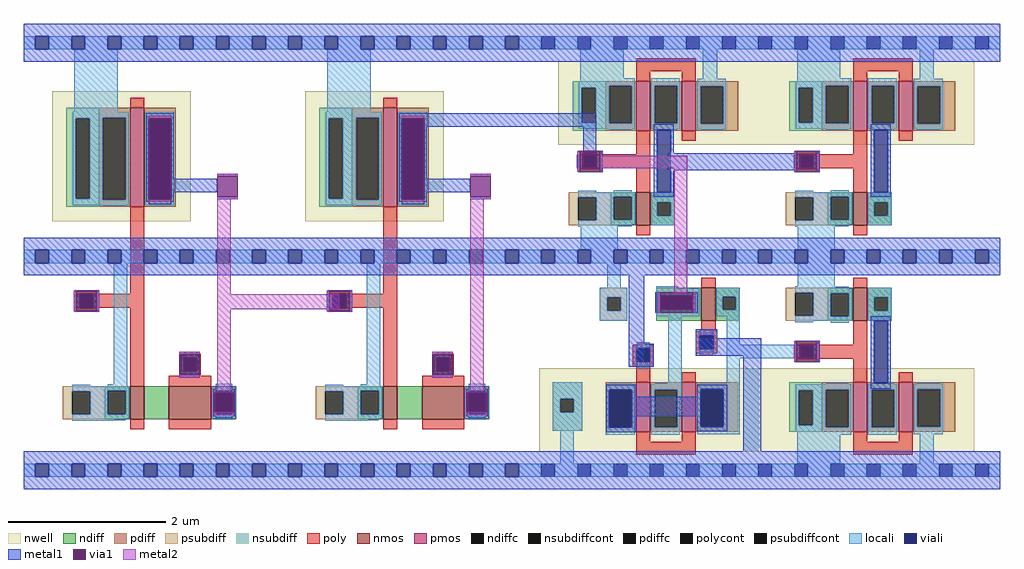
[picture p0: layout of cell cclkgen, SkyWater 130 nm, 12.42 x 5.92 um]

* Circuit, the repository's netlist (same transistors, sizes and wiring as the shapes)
* SPICE3 file created from cclkgen.ext - technology: sky130A

X0 inv_weak_pulldown_corrected_1/in inv_weak_pulldown_corrected_0/in VDDA VDDA sky130_fd_pr__pfet_01v8 ad=0p pd=0u as=0p ps=0u w=1.26e+06u l=180000u
X1 inv_weak_pulldown_corrected_0/a_30_50# inv_weak_pulldown_corrected_0/in VSUBS VSUBS sky130_fd_pr__nfet_01v8 ad=0p pd=0u as=0p ps=0u w=420000u l=180000u
X2 inv_weak_pulldown_corrected_1/in inv_weak_pulldown_corrected_1/vnb inv_weak_pulldown_corrected_0/a_30_50# VSUBS sky130_fd_pr__nfet_01v8 ad=0p pd=0u as=0p ps=0u w=420000u l=540000u
X3 comp_clks_0/tg_0/inp inv_weak_pulldown_corrected_1/in VDDA VDDA sky130_fd_pr__pfet_01v8 ad=0p pd=0u as=0p ps=0u w=1.26e+06u l=180000u
X4 inv_weak_pulldown_corrected_1/a_30_50# inv_weak_pulldown_corrected_1/in VSUBS VSUBS sky130_fd_pr__nfet_01v8 ad=0p pd=0u as=0p ps=0u w=420000u l=180000u
X5 comp_clks_0/tg_0/inp inv_weak_pulldown_corrected_1/vnb inv_weak_pulldown_corrected_1/a_30_50# VSUBS sky130_fd_pr__nfet_01v8 ad=0p pd=0u as=0p ps=0u w=420000u l=540000u
X6 comp_clks_0/tg_0/out VSUBS comp_clks_0/tg_0/inp VDDA sky130_fd_pr__pfet_01v8 ad=0p pd=0u as=0p ps=0u w=630000u l=180000u
X7 comp_clks_0/tg_0/inp VSUBS comp_clks_0/tg_0/out VDDA sky130_fd_pr__pfet_01v8 ad=0p pd=0u as=0p ps=0u w=630000u l=180000u
X8 comp_clks_0/tg_0/out VDDA comp_clks_0/tg_0/inp VSUBS sky130_fd_pr__nfet_01v8 ad=0p pd=0u as=0p ps=0u w=420000u l=180000u
X9 comp_clks_0/inverter_1/in comp_clks_0/tg_0/inp VSUBS VSUBS sky130_fd_pr__nfet_01v8 ad=0p pd=0u as=0p ps=0u w=420000u l=180000u
X10 VDDA comp_clks_0/tg_0/inp comp_clks_0/inverter_1/in VDDA sky130_fd_pr__pfet_01v8 ad=0p pd=0u as=0p ps=0u w=630000u l=180000u
X11 comp_clks_0/inverter_1/in comp_clks_0/tg_0/inp VDDA VDDA sky130_fd_pr__pfet_01v8 ad=0p pd=0u as=0p ps=0u w=630000u l=180000u
X12 comp_clks_0/inverter_1/out comp_clks_0/inverter_1/in VSUBS VSUBS sky130_fd_pr__nfet_01v8 ad=0p pd=0u as=0p ps=0u w=420000u l=180000u
X13 VDDA comp_clks_0/inverter_1/in comp_clks_0/inverter_1/out VDDA sky130_fd_pr__pfet_01v8 ad=0p pd=0u as=0p ps=0u w=630000u l=180000u
X14 comp_clks_0/inverter_1/out comp_clks_0/inverter_1/in VDDA VDDA sky130_fd_pr__pfet_01v8 ad=0p pd=0u as=0p ps=0u w=630000u l=180000u
X15 comp_clks_0/inverter_2/out comp_clks_0/tg_0/out VSUBS VSUBS sky130_fd_pr__nfet_01v8 ad=0p pd=0u as=0p ps=0u w=420000u l=180000u
X16 VDDA comp_clks_0/tg_0/out comp_clks_0/inverter_2/out VDDA sky130_fd_pr__pfet_01v8 ad=0p pd=0u as=0p ps=0u w=630000u l=180000u
X17 comp_clks_0/inverter_2/out comp_clks_0/tg_0/out VDDA VDDA sky130_fd_pr__pfet_01v8 ad=0p pd=0u as=0p ps=0u w=630000u l=180000u

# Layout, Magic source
magic
tech sky130B
magscale 1 2
<< metal1 >>
rect 1022 922 1457 956
rect 1423 850 1457 922
<< metal2 >>
rect 515 458 802 496
use comp_clks  comp_clks_0
transform 1 0 1288 0 1 544
box 0 -547 1196 640
use inv_weak_pulldown_corrected  inv_weak_pulldown_corrected_0
transform 1 0 276 0 1 128
box -276 -128 368 1056
use inv_weak_pulldown_corrected  inv_weak_pulldown_corrected_1
transform 1 0 920 0 1 128
box -276 -128 368 1056
<< end >>

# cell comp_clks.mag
magic
tech sky130B
magscale 1 2
<< nwell >>
rect 577 332 627 545
rect 576 -449 630 -236
<< locali >>
rect 530 -211 674 -177
<< metal1 >>
rect 0 544 1196 640
rect 351 268 677 311
rect 251 2 280 4
rect 251 -232 290 2
rect 422 -205 588 -160
rect 543 -448 588 -205
rect 0 -544 1196 -448
<< metal2 >>
rect 182 273 400 305
rect 367 -47 400 273
use inverter  inverter_0 /local_disk/fossi_cochlea/mag/final_designs/inverter
transform 1 0 276 0 1 128
box -276 -128 368 512
use inverter  inverter_1
transform 1 0 828 0 1 128
box -276 -128 368 512
use inverter  inverter_2
transform 1 0 828 0 -1 -32
box -276 -128 368 512
use tg  tg_0
transform 1 0 276 0 -1 -32
box -276 -128 368 512
<< labels >>
flabel metal1 0 609 1196 640 1 FreeSans 800 0 0 0 vdda
flabel metal1 0 -544 1196 -448 1 FreeSans 800 0 0 0 vdda
<< end >>

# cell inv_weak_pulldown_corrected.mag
magic
tech sky130B
magscale 1 2
<< nwell >>
rect -204 554 148 884
<< nmos >>
rect -6 50 30 134
rect 93 50 201 134
<< pmos >>
rect -6 590 30 842
<< ndiff >>
rect -71 122 -6 134
rect -71 63 -63 122
rect -17 63 -6 122
rect -71 50 -6 63
rect 30 50 93 134
rect 201 122 264 134
rect 201 64 212 122
rect 254 64 264 122
rect 201 50 264 64
<< pdiff >>
rect -84 817 -6 842
rect -84 609 -75 817
rect -17 609 -6 817
rect -84 590 -6 609
rect 30 816 110 842
rect 30 609 41 816
rect 99 609 110 816
rect 30 590 110 609
<< ndiffc >>
rect -63 63 -17 122
rect 212 64 254 122
<< pdiffc >>
rect -75 609 -17 817
rect 41 609 99 816
<< psubdiff >>
rect -177 121 -71 134
rect -177 62 -153 121
rect -107 62 -71 121
rect -177 50 -71 62
<< nsubdiff >>
rect -168 816 -84 842
rect -168 611 -144 816
rect -109 611 -84 816
rect -168 590 -84 611
<< psubdiffcont >>
rect -153 62 -107 121
<< nsubdiffcont >>
rect -144 611 -109 816
<< poly >>
rect -6 842 30 868
rect -144 369 -88 378
rect -6 369 30 590
rect -144 368 30 369
rect -150 334 -134 368
rect -100 334 30 368
rect -144 333 30 334
rect -144 324 -88 333
rect -6 134 30 333
rect 130 216 164 222
rect 120 206 174 216
rect 120 172 130 206
rect 164 172 174 206
rect 120 160 174 172
rect 93 134 201 160
rect -6 24 30 50
rect 93 24 201 50
<< polycont >>
rect -134 334 -100 368
rect 130 172 164 206
<< locali >>
rect -276 991 -247 1025
rect -213 991 -155 1025
rect -121 991 -63 1025
rect -29 991 29 1025
rect 63 991 121 1025
rect 155 991 213 1025
rect 247 991 305 1025
rect 339 991 368 1025
rect -148 833 -38 991
rect -152 817 -10 833
rect -152 816 -75 817
rect -152 611 -144 816
rect -109 611 -75 816
rect -152 609 -75 611
rect -17 609 -10 817
rect -152 595 -10 609
rect 32 816 106 833
rect 32 609 41 816
rect 99 609 106 816
rect 32 595 106 609
rect -75 593 -17 595
rect 41 593 99 595
rect -276 447 -247 481
rect -213 447 -155 481
rect -121 447 -63 481
rect -29 447 29 481
rect 63 447 121 481
rect 155 447 213 481
rect 247 447 305 481
rect 339 447 368 481
rect -150 334 -134 368
rect -100 334 -84 368
rect -48 139 -13 447
rect 130 212 164 222
rect 124 206 170 212
rect 124 172 130 206
rect 164 172 170 206
rect 124 166 170 172
rect 130 156 164 166
rect -153 134 -107 137
rect -63 134 -13 139
rect -153 133 -13 134
rect 212 133 254 140
rect -153 122 -8 133
rect -153 121 -63 122
rect -107 63 -63 121
rect -17 63 -8 122
rect -107 62 -8 63
rect -153 51 -8 62
rect 202 122 263 133
rect 202 64 212 122
rect 254 64 263 122
rect 202 51 263 64
rect -153 47 -17 51
rect 212 48 254 51
rect -153 46 -47 47
rect -276 -97 -247 -63
rect -213 -97 -155 -63
rect -121 -97 -63 -63
rect -29 -97 29 -63
rect 63 -97 121 -63
rect 155 -97 213 -63
rect 247 -97 305 -63
rect 339 -97 368 -63
<< viali >>
rect -247 991 -213 1025
rect -155 991 -121 1025
rect -63 991 -29 1025
rect 29 991 63 1025
rect 121 991 155 1025
rect 213 991 247 1025
rect 305 991 339 1025
rect 41 609 99 816
rect -247 447 -213 481
rect -155 447 -121 481
rect -63 447 -29 481
rect 29 447 63 481
rect 121 447 155 481
rect 213 447 247 481
rect 305 447 339 481
rect -134 334 -100 368
rect 130 172 164 206
rect 212 64 254 122
rect -247 -97 -213 -63
rect -155 -97 -121 -63
rect -63 -97 -29 -63
rect 29 -97 63 -63
rect 121 -97 155 -63
rect 213 -97 247 -63
rect 305 -97 339 -63
<< metal1 >>
rect -276 1025 368 1056
rect -276 991 -247 1025
rect -213 991 -155 1025
rect -121 991 -63 1025
rect -29 991 29 1025
rect 63 991 121 1025
rect 155 991 213 1025
rect 247 991 305 1025
rect 339 991 368 1025
rect -276 960 368 991
rect 35 816 105 828
rect 35 609 41 816
rect 99 662 105 816
rect 216 668 268 674
rect 99 628 216 662
rect 99 609 105 628
rect 216 610 268 616
rect 35 603 105 609
rect 41 597 99 603
rect -276 481 368 512
rect -276 447 -247 481
rect -213 447 -155 481
rect -121 447 -63 481
rect -29 447 29 481
rect 63 447 121 481
rect 155 447 213 481
rect 247 447 305 481
rect 339 447 368 481
rect -276 416 368 447
rect -147 377 -84 378
rect -149 325 -143 377
rect -91 325 -84 377
rect -147 324 -84 325
rect 119 215 171 222
rect 119 156 171 163
rect 212 128 254 134
rect 206 122 260 128
rect 206 119 212 122
rect 254 119 260 122
rect 206 67 207 119
rect 259 67 260 119
rect 206 64 212 67
rect 254 64 260 67
rect 206 58 260 64
rect 212 52 254 58
rect -276 -63 368 -32
rect -276 -97 -247 -63
rect -213 -97 -155 -63
rect -121 -97 -63 -63
rect -29 -97 29 -63
rect 63 -97 121 -63
rect 155 -97 213 -63
rect 247 -97 305 -63
rect 339 -97 368 -63
rect -276 -128 368 -97
<< via1 >>
rect 41 609 99 816
rect 216 616 268 668
rect -143 368 -91 377
rect -143 334 -134 368
rect -134 334 -100 368
rect -100 334 -91 368
rect -143 325 -91 334
rect 119 206 171 215
rect 119 172 130 206
rect 130 172 164 206
rect 164 172 171 206
rect 119 163 171 172
rect 207 67 212 119
rect 212 67 254 119
rect 254 67 259 119
<< metal2 >>
rect 41 816 99 822
rect 41 603 99 609
rect 216 668 268 674
rect 216 610 268 616
rect -149 325 -143 377
rect -91 325 -85 377
rect 119 215 171 222
rect 119 156 171 163
rect 216 125 250 610
rect 207 119 259 125
rect 207 61 259 67
<< labels >>
flabel metal2 -134 334 -100 368 0 FreeSans 160 0 0 0 in
flabel metal2 130 172 164 206 0 FreeSans 160 0 0 0 vnb
<< end >>

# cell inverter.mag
magic
tech sky130A
magscale 1 2
<< nwell >>
rect -204 204 302 417
<< nmos >>
rect -6 0 30 84
<< pmos >>
rect -6 240 30 366
rect 110 240 146 366
<< ndiff >>
rect -71 72 -6 84
rect -71 13 -63 72
rect -17 13 -6 72
rect -71 0 -6 13
rect 30 58 92 84
rect 30 24 48 58
rect 82 24 92 58
rect 30 0 92 24
<< pdiff >>
rect -84 354 -6 366
rect -84 259 -75 354
rect -17 259 -6 354
rect -84 240 -6 259
rect 30 354 110 366
rect 30 259 41 354
rect 99 259 110 354
rect 30 240 110 259
rect 146 353 254 366
rect 146 258 158 353
rect 216 258 254 353
rect 146 240 254 258
<< ndiffc >>
rect -63 13 -17 72
rect 48 24 82 58
<< pdiffc >>
rect -75 259 -17 354
rect 41 259 99 354
rect 158 258 216 353
<< psubdiff >>
rect -177 71 -71 84
rect -177 12 -153 71
rect -107 12 -71 71
rect -177 0 -71 12
<< nsubdiff >>
rect -168 350 -84 366
rect -168 261 -144 350
rect -109 261 -84 350
rect -168 240 -84 261
<< psubdiffcont >>
rect -153 12 -107 71
<< nsubdiffcont >>
rect -144 261 -109 350
<< poly >>
rect -6 392 146 424
rect -6 366 30 392
rect 110 366 146 392
rect -151 180 -95 189
rect -6 180 30 240
rect 110 214 146 240
rect -151 179 30 180
rect -157 145 -141 179
rect -107 145 30 179
rect -151 144 30 145
rect -151 135 -95 144
rect -6 84 30 144
rect -6 -26 30 0
<< polycont >>
rect -141 145 -107 179
<< locali >>
rect -276 447 -247 481
rect -213 447 -155 481
rect -121 447 -63 481
rect -29 447 29 481
rect 63 447 121 481
rect 155 447 213 481
rect 247 447 305 481
rect 339 447 368 481
rect -148 374 -38 447
rect -148 366 -10 374
rect -152 354 -10 366
rect -152 350 -75 354
rect -152 261 -144 350
rect -109 261 -75 350
rect -152 259 -75 261
rect -17 259 -10 354
rect -152 245 -10 259
rect 32 366 105 374
rect 164 373 200 447
rect 32 354 106 366
rect 32 259 41 354
rect 99 259 106 354
rect 32 245 106 259
rect 149 365 222 373
rect 149 353 223 365
rect 149 258 158 353
rect 216 258 223 353
rect -75 243 -17 245
rect 41 243 99 245
rect 149 244 223 258
rect -157 145 -141 179
rect -107 145 -91 179
rect -153 84 -107 87
rect -63 84 -17 89
rect 158 242 216 244
rect -153 83 -17 84
rect -153 72 -8 83
rect -153 71 -63 72
rect -107 13 -63 71
rect -17 13 -8 72
rect -107 12 -8 13
rect -153 1 -8 12
rect 32 58 92 84
rect 32 24 48 58
rect 82 24 92 58
rect -153 -3 -17 1
rect 32 0 92 24
rect -153 -4 -53 -3
rect -147 -63 -53 -4
rect -276 -97 -247 -63
rect -213 -97 -155 -63
rect -121 -97 -63 -63
rect -29 -97 29 -63
rect 63 -97 121 -63
rect 155 -97 213 -63
rect 247 -97 305 -63
rect 339 -97 368 -63
<< viali >>
rect -247 447 -213 481
rect -155 447 -121 481
rect -63 447 -29 481
rect 29 447 63 481
rect 121 447 155 481
rect 213 447 247 481
rect 305 447 339 481
rect -141 145 -107 179
rect 48 84 82 243
rect -247 -97 -213 -63
rect -155 -97 -121 -63
rect -63 -97 -29 -63
rect 29 -97 63 -63
rect 121 -97 155 -63
rect 213 -97 247 -63
rect 305 -97 339 -63
<< metal1 >>
rect -276 481 368 512
rect -276 447 -247 481
rect -213 447 -155 481
rect -121 447 -63 481
rect -29 447 29 481
rect 63 447 121 481
rect 155 447 213 481
rect 247 447 305 481
rect 339 447 368 481
rect -276 416 368 447
rect 39 243 90 256
rect -154 188 -91 189
rect -156 136 -150 188
rect -98 136 -91 188
rect -154 135 -91 136
rect 39 84 48 243
rect 82 84 90 243
rect 39 72 90 84
rect -276 -63 368 -32
rect -276 -97 -247 -63
rect -213 -97 -155 -63
rect -121 -97 -63 -63
rect -29 -97 29 -63
rect 63 -97 121 -63
rect 155 -97 213 -63
rect 247 -97 305 -63
rect 339 -97 368 -63
rect -276 -128 368 -97
<< via1 >>
rect -150 179 -98 188
rect -150 145 -141 179
rect -141 145 -107 179
rect -107 145 -98 179
rect -150 136 -98 145
<< metal2 >>
rect -156 136 -150 188
rect -98 136 -92 188
<< labels >>
flabel metal2 -141 145 -107 179 0 FreeSans 160 0 0 0 in
flabel viali 48 84 82 243 0 FreeSans 160 0 0 0 out
<< end >>

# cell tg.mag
magic
tech sky130B
magscale 1 2
<< nwell >>
rect -253 204 302 417
<< nmos >>
rect 160 0 196 84
<< pmos >>
rect -6 240 30 366
rect 110 240 146 366
<< ndiff >>
rect 45 54 160 84
rect 45 20 55 54
rect 139 20 160 54
rect 45 0 160 20
rect 196 56 258 84
rect 196 22 214 56
rect 248 22 258 56
rect 196 0 258 22
<< pdiff >>
rect -84 354 -6 366
rect -84 259 -75 354
rect -17 259 -6 354
rect -84 240 -6 259
rect 30 354 110 366
rect 30 259 41 354
rect 99 259 110 354
rect 30 240 110 259
rect 146 353 254 366
rect 146 258 158 353
rect 216 258 254 353
rect 146 240 254 258
<< ndiffc >>
rect 55 20 139 54
rect 214 22 248 56
<< pdiffc >>
rect -75 259 -17 354
rect 41 259 99 354
rect 158 258 216 353
<< psubdiff >>
rect -99 58 -29 83
rect -99 24 -79 58
rect -45 24 -29 58
rect -99 0 -29 24
<< nsubdiff >>
rect -217 316 -143 364
rect -217 282 -199 316
rect -165 282 -143 316
rect -217 240 -143 282
<< psubdiffcont >>
rect -79 24 -45 58
<< nsubdiffcont >>
rect -199 282 -165 316
<< poly >>
rect -6 392 146 424
rect -6 366 30 392
rect 110 366 146 392
rect -6 200 30 240
rect 110 214 146 240
rect -15 188 39 200
rect -15 154 -5 188
rect 29 154 39 188
rect 156 166 190 172
rect -15 144 39 154
rect 146 156 200 166
rect -5 138 29 144
rect 146 122 156 156
rect 190 122 200 156
rect 146 110 200 122
rect 155 106 196 110
rect 160 84 196 106
rect 160 -26 196 0
<< polycont >>
rect -5 154 29 188
rect 156 122 190 156
<< locali >>
rect -276 447 -247 481
rect -213 447 -155 481
rect -121 447 -63 481
rect -29 447 29 481
rect 63 447 121 481
rect 155 447 213 481
rect 247 447 305 481
rect 339 447 368 481
rect -199 364 -165 447
rect -218 316 -143 364
rect -218 282 -199 316
rect -165 282 -143 316
rect -218 240 -143 282
rect -84 354 -10 374
rect -84 259 -75 354
rect -17 259 -10 354
rect -84 245 -10 259
rect 32 366 105 374
rect 32 354 106 366
rect 32 259 41 354
rect 99 277 106 354
rect 149 353 258 373
rect 99 259 110 277
rect 32 245 110 259
rect -75 243 -17 245
rect 41 243 110 245
rect 149 258 158 353
rect 216 258 258 353
rect 149 244 258 258
rect -5 188 29 204
rect -5 138 29 154
rect -99 58 -29 83
rect 76 72 110 243
rect 158 242 258 244
rect 156 156 190 172
rect 156 106 190 122
rect 224 72 258 242
rect -99 24 -79 58
rect -45 24 -29 58
rect -99 0 -29 24
rect 45 54 155 72
rect 45 20 55 54
rect 139 20 155 54
rect 45 1 155 20
rect 198 56 258 72
rect 198 22 214 56
rect 248 22 258 56
rect -79 -63 -45 0
rect 45 -4 99 1
rect 198 0 258 22
rect -276 -97 -247 -63
rect -213 -97 -155 -63
rect -121 -97 -63 -63
rect -29 -97 29 -63
rect 63 -97 121 -63
rect 155 -97 213 -63
rect 247 -97 305 -63
rect 339 -97 368 -63
<< viali >>
rect -247 447 -213 481
rect -155 447 -121 481
rect -63 447 -29 481
rect 29 447 63 481
rect 121 447 155 481
rect 213 447 247 481
rect 305 447 339 481
rect -75 259 -17 354
rect 158 258 216 353
rect -5 154 29 188
rect 156 122 190 156
rect 55 20 139 54
rect -247 -97 -213 -63
rect -155 -97 -121 -63
rect -63 -97 -29 -63
rect 29 -97 63 -63
rect 121 -97 155 -63
rect 213 -97 247 -63
rect 305 -97 339 -63
<< metal1 >>
rect -276 481 368 512
rect -276 447 -247 481
rect -213 447 -155 481
rect -121 447 -63 481
rect -29 447 29 481
rect 63 447 121 481
rect 155 447 213 481
rect 247 447 305 481
rect 339 447 368 481
rect -276 417 368 447
rect -276 416 149 417
rect 204 416 368 417
rect -82 354 -6 367
rect -82 259 -75 354
rect -17 327 -6 354
rect 150 353 226 365
rect 150 327 158 353
rect -17 277 158 327
rect -17 259 -6 277
rect -82 247 -6 259
rect 150 258 158 277
rect 216 258 226 353
rect 150 246 226 258
rect -19 188 39 200
rect -19 154 -5 188
rect 29 154 39 188
rect -19 142 39 154
rect 146 156 200 173
rect 146 122 156 156
rect 190 122 200 156
rect 146 105 200 122
rect 43 11 55 63
rect 139 11 151 63
rect -276 -63 368 -32
rect -276 -97 -247 -63
rect -213 -97 -155 -63
rect -121 -97 -63 -63
rect -29 -97 29 -63
rect 63 -97 121 -63
rect 155 -97 213 -63
rect 247 -97 305 -63
rect 339 -97 368 -63
rect -276 -128 368 -97
<< via1 >>
rect 55 54 139 63
rect 55 20 139 54
rect 55 11 139 20
<< metal2 >>
rect 49 11 55 63
rect 139 11 145 63
<< labels >>
flabel metal1 -5 154 29 188 1 FreeSans 400 0 0 0 ctrl_
port 1 n default input
flabel metal1 156 122 190 156 1 FreeSans 400 0 0 0 ctrl
port 2 n default input
flabel metal1 -29 -128 29 -32 1 FreeSans 400 0 0 0 vssa
port 3 n default bidirectional
flabel metal1 -29 416 29 512 1 FreeSans 400 0 0 0 vdda
port 4 n default bidirectional
flabel metal2 55 20 139 54 1 FreeSans 400 0 0 0 in
port 5 n default input
flabel ndiffc 214 22 248 56 0 FreeSans 160 0 0 0 out
port 6 nsew default output
<< end >>
